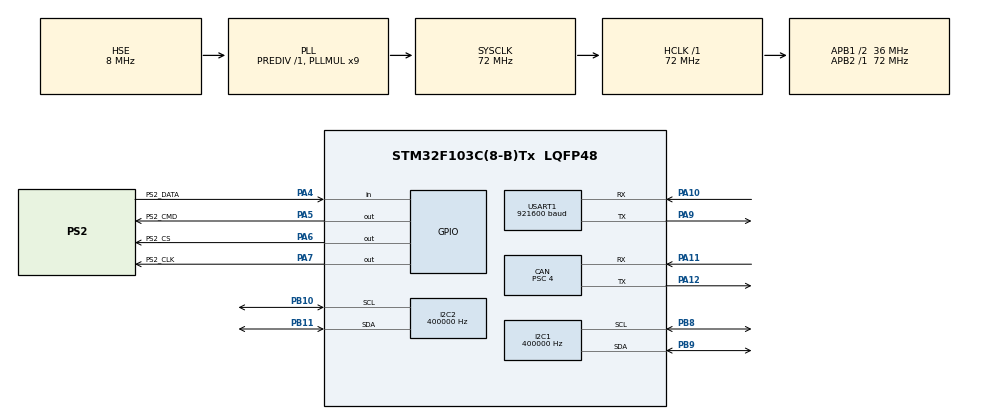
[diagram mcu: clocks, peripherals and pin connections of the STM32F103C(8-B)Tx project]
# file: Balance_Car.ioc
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CAN.AutoBusOff=ENABLE
CAN.AutoRetransmission=ENABLE
CAN.BS1=CAN_BS1_11TQ
CAN.BS2=CAN_BS2_6TQ
CAN.CalculateBaudRate=500000
CAN.CalculateTimeBit=2000
CAN.CalculateTimeQuantum=111.11111111111111
CAN.Prescaler=4
CAN.SJW=CAN_SJW_2TQ
FREERTOS.TOTAL_HEAP_SIZE=6144
FREERTOS.Tasks01=defaultTask,-3,64,StartDefaultTask,Default,NULL,Dynamic,NULL,NULL;mpuTask,2,128,MPU_Task,Default,NULL,Dynamic,NULL,NULL;motorCtrlTask,1,208,MotorCtrl_Task,Default,NULL,Dynamic,NULL,NULL;oledTask,-1,112,OLED_DisplayTask,Default,NULL,Dynamic,NULL,NULL;handTask,1,112,HAND_Task,Default,NULL,Dynamic,NULL,NULL
FREERTOS.configMINIMAL_STACK_SIZE=64
I2C1.ClockSpeed=400000
I2C1.DutyCycle=I2C_DUTYCYCLE_16_9
I2C1.I2C_Mode=I2C_Fast
I2C2.ClockSpeed=400000
I2C2.DutyCycle=I2C_DUTYCYCLE_16_9
I2C2.I2C_Mode=I2C_Fast
Mcu.Family=STM32F1
Mcu.Name=STM32F103C(8-B)Tx
Mcu.Package=LQFP48
NVIC.CAN1_RX1_IRQn=true\:5\:0\:false\:false\:true\:true\:true\:true\:true
NVIC.I2C1_ER_IRQn=true\:5\:0\:false\:false\:true\:true\:true\:true\:true
NVIC.I2C1_EV_IRQn=true\:5\:0\:false\:false\:true\:true\:true\:true\:true
NVIC.I2C2_ER_IRQn=true\:5\:0\:false\:false\:true\:true\:true\:true\:true
NVIC.I2C2_EV_IRQn=true\:5\:0\:false\:false\:true\:true\:true\:true\:true
NVIC.PriorityGroup=NVIC_PRIORITYGROUP_4
NVIC.TIM1_UP_IRQn=true\:15\:0\:false\:false\:true\:false\:false\:true\:true
NVIC.TimeBase=TIM1_UP_IRQn
NVIC.TimeBaseIP=TIM1
NVIC.USART1_IRQn=true\:5\:0\:false\:false\:true\:true\:true\:true\:true
NVIC.USB_HP_CAN1_TX_IRQn=true\:5\:0\:false\:false\:true\:true\:true\:true\:true
PA10.Mode=Asynchronous
PA10.Signal=USART1_RX
PA11.Mode=CAN_Activate
PA11.Signal=CAN_RX
PA12.Mode=CAN_Activate
PA12.Signal=CAN_TX
PA13.Mode=Serial_Wire
PA13.Signal=SYS_JTMS-SWDIO
PA14.Mode=Serial_Wire
PA14.Signal=SYS_JTCK-SWCLK
PA4.GPIO_Label=PS2_DATA
PA4.GPIO_PuPd=GPIO_PULLUP
PA4.Signal=GPIO_Input
PA5.GPIO_Label=PS2_CMD
PA5.GPIO_PinState=GPIO_PIN_SET
PA5.GPIO_Speed=GPIO_SPEED_FREQ_HIGH
PA5.Signal=GPIO_Output
PA6.GPIO_Label=PS2_CS
PA6.GPIO_PinState=GPIO_PIN_SET
PA6.GPIO_Speed=GPIO_SPEED_FREQ_HIGH
PA6.Signal=GPIO_Output
PA7.GPIO_Label=PS2_CLK
PA7.GPIO_PinState=GPIO_PIN_SET
PA7.GPIO_Speed=GPIO_SPEED_FREQ_HIGH
PA7.Signal=GPIO_Output
PA9.Mode=Asynchronous
PA9.Signal=USART1_TX
PB10.Mode=I2C
PB10.Signal=I2C2_SCL
PB11.Mode=I2C
PB11.Signal=I2C2_SDA
PB8.Mode=I2C
PB8.Signal=I2C1_SCL
PB9.Mode=I2C
PB9.Signal=I2C1_SDA
PD0-OSC_IN.Mode=HSE-External-Oscillator
PD0-OSC_IN.Signal=RCC_OSC_IN
PD1-OSC_OUT.Mode=HSE-External-Oscillator
PD1-OSC_OUT.Signal=RCC_OSC_OUT
ProjectManager.HeapSize=0x200
ProjectManager.StackSize=0x400
ProjectManager.TargetToolchain=MDK-ARM V5.32
RCC.AHBFreq_Value=72000000
RCC.APB1CLKDivider=RCC_HCLK_DIV2
RCC.APB1Freq_Value=36000000
RCC.APB1TimFreq_Value=72000000
RCC.APB2Freq_Value=72000000
RCC.APB2TimFreq_Value=72000000
RCC.HCLKFreq_Value=72000000
RCC.PLLMUL=RCC_PLL_MUL9
RCC.PLLSourceVirtual=RCC_PLLSOURCE_HSE
RCC.SYSCLKFreq_VALUE=72000000
RCC.SYSCLKSource=RCC_SYSCLKSOURCE_PLLCLK
RCC.USBFreq_Value=72000000
TIM4.Period=65535
TIM4.Prescaler=71
USART1.BaudRate=921600
USART1.VirtualMode=VM_ASYNC
VP_FREERTOS_VS_CMSIS_V1.Mode=CMSIS_V1
VP_SYS_VS_tim1.Mode=TIM1
VP_TIM4_VS_ClockSourceINT.Mode=Internal
board=custom

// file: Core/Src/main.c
/* USER CODE BEGIN Header */
/**
  ******************************************************************************
  * @file           : main.c
  * @brief          : Main program body
  ******************************************************************************
  * @attention
  *
  * Copyright (c) 2026 STMicroelectronics.
  * All rights reserved.
  *
  * This software is licensed under terms that can be found in the LICENSE file
  * in the root directory of this software component.
  * If no LICENSE file comes with this software, it is provided AS-IS.
  *
  ******************************************************************************
  */
/* USER CODE END Header */
#include "main.h"
#include "cmsis_os.h"
#include "can.h"
#include "i2c.h"
#include "tim.h"
#include "usart.h"
#include "gpio.h"

/* USER CODE BEGIN Includes */
#include "balance.h"
#include "tim.h"
/* USER CODE END Includes */

void SystemClock_Config(void);
void MX_FREERTOS_Init(void);

int main(void)
{

  /* MCU Configuration--------------------------------------------------------*/

  /* Reset of all peripherals, Initializes the Flash interface and the Systick. */
  HAL_Init();

  /* Configure the system clock */
  SystemClock_Config();

  /* USER CODE BEGIN SysInit */
  HAL_Delay(1000U);
  /* USER CODE END SysInit */

  /* Initialize all configured peripherals */
  MX_GPIO_Init();
  MX_I2C1_Init();
  MX_I2C2_Init();
  MX_CAN_Init();
  MX_USART1_UART_Init();
  MX_TIM4_Init();
  /* USER CODE BEGIN 2 */
  Car_Init();
  /* USER CODE END 2 */

  /* Call init function for freertos objects (in cmsis_os2.c) */
  MX_FREERTOS_Init();

  /* Start scheduler */
  osKernelStart();

  /* We should never get here as control is now taken by the scheduler */

  /* Infinite loop */
  while (1)
  {

  }
}

void SystemClock_Config(void)
{
  RCC_OscInitTypeDef RCC_OscInitStruct = {0};
  RCC_ClkInitTypeDef RCC_ClkInitStruct = {0};

  /** Initializes the RCC Oscillators according to the specified parameters
  * in the RCC_OscInitTypeDef structure.
  */
  RCC_OscInitStruct.OscillatorType = RCC_OSCILLATORTYPE_HSE;
  RCC_OscInitStruct.HSEState = RCC_HSE_ON;
  RCC_OscInitStruct.HSEPredivValue = RCC_HSE_PREDIV_DIV1;
  RCC_OscInitStruct.HSIState = RCC_HSI_ON;
  RCC_OscInitStruct.PLL.PLLState = RCC_PLL_ON;
  RCC_OscInitStruct.PLL.PLLSource = RCC_PLLSOURCE_HSE;
  RCC_OscInitStruct.PLL.PLLMUL = RCC_PLL_MUL9;
  if (HAL_RCC_OscConfig(&RCC_OscInitStruct) != HAL_OK)
  {
    Error_Handler();
  }

  /** Initializes the CPU, AHB and APB buses clocks
  */
  RCC_ClkInitStruct.ClockType = RCC_CLOCKTYPE_HCLK|RCC_CLOCKTYPE_SYSCLK
                              |RCC_CLOCKTYPE_PCLK1|RCC_CLOCKTYPE_PCLK2;
  RCC_ClkInitStruct.SYSCLKSource = RCC_SYSCLKSOURCE_PLLCLK;
  RCC_ClkInitStruct.AHBCLKDivider = RCC_SYSCLK_DIV1;
  RCC_ClkInitStruct.APB1CLKDivider = RCC_HCLK_DIV2;
  RCC_ClkInitStruct.APB2CLKDivider = RCC_HCLK_DIV1;

  if (HAL_RCC_ClockConfig(&RCC_ClkInitStruct, FLASH_LATENCY_2) != HAL_OK)
  {
    Error_Handler();
  }
}

void HAL_TIM_PeriodElapsedCallback(TIM_HandleTypeDef *htim)
{
  if (htim->Instance == TIM1)
  {
    HAL_IncTick();
  }
}

void Error_Handler(void)
{
  __disable_irq();
  while (1)
  {
  }
}

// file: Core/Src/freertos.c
/* USER CODE BEGIN Header */
/**
  ******************************************************************************
  * File Name          : freertos.c
  * Description        : Code for freertos applications
  ******************************************************************************
  * @attention
  *
  * Copyright (c) 2026 STMicroelectronics.
  * All rights reserved.
  *
  * This software is licensed under terms that can be found in the LICENSE file
  * in the root directory of this software component.
  * If no LICENSE file comes with this software, it is provided AS-IS.
  *
  ******************************************************************************
  */
/* USER CODE END Header */

#include "FreeRTOS.h"
#include "task.h"
#include "main.h"
#include "cmsis_os.h"

/* USER CODE BEGIN Includes */
#include "balance.h"
/* USER CODE END Includes */

osThreadId defaultTaskHandle;
osThreadId mpuTaskHandle;
osThreadId motorCtrlTaskHandle;
osThreadId oledTaskHandle;
osThreadId handTaskHandle;

void StartDefaultTask(void const * argument);
void MPU_Task(void const * argument);
void MotorCtrl_Task(void const * argument);
void OLED_DisplayTask(void const * argument);
void HAND_Task(void const * argument);

void MX_FREERTOS_Init(void); /* (MISRA C 2004 rule 8.1) */

/* GetIdleTaskMemory prototype (linked to static allocation support) */
void vApplicationGetIdleTaskMemory( StaticTask_t **ppxIdleTaskTCBBuffer, StackType_t **ppxIdleTaskStackBuffer, uint32_t *pulIdleTaskStackSize );

/* USER CODE BEGIN GET_IDLE_TASK_MEMORY */
static StaticTask_t xIdleTaskTCBBuffer;
static StackType_t xIdleStack[configMINIMAL_STACK_SIZE];

void vApplicationGetIdleTaskMemory( StaticTask_t **ppxIdleTaskTCBBuffer, StackType_t **ppxIdleTaskStackBuffer, uint32_t *pulIdleTaskStackSize )
{
  *ppxIdleTaskTCBBuffer = &xIdleTaskTCBBuffer;
  *ppxIdleTaskStackBuffer = &xIdleStack[0];
  *pulIdleTaskStackSize = configMINIMAL_STACK_SIZE;
  /* place for user code */
}
/* USER CODE END GET_IDLE_TASK_MEMORY */

void MX_FREERTOS_Init(void) {

  /* Create the thread(s) */
  /* definition and creation of defaultTask */
  osThreadDef(defaultTask, StartDefaultTask, osPriorityIdle, 0, 64);
  defaultTaskHandle = osThreadCreate(osThread(defaultTask), NULL);

  /* definition and creation of mpuTask */
  osThreadDef(mpuTask, MPU_Task, osPriorityHigh, 0, 128);
  mpuTaskHandle = osThreadCreate(osThread(mpuTask), NULL);

  /* definition and creation of motorCtrlTask */
  osThreadDef(motorCtrlTask, MotorCtrl_Task, osPriorityAboveNormal, 0, 208);
  motorCtrlTaskHandle = osThreadCreate(osThread(motorCtrlTask), NULL);

  /* definition and creation of oledTask */
  osThreadDef(oledTask, OLED_DisplayTask, osPriorityBelowNormal, 0, 112);
  oledTaskHandle = osThreadCreate(osThread(oledTask), NULL);

  /* definition and creation of handTask */
  osThreadDef(handTask, HAND_Task, osPriorityAboveNormal, 0, 112);
  handTaskHandle = osThreadCreate(osThread(handTask), NULL);

  /* USER CODE BEGIN RTOS_THREADS */
  if (defaultTaskHandle == NULL || mpuTaskHandle == NULL ||
      motorCtrlTaskHandle == NULL || oledTaskHandle == NULL || handTaskHandle == NULL)
  {
    Error_Handler();
  }
  /* USER CODE END RTOS_THREADS */

}

void StartDefaultTask(void const * argument)
{
  for(;;)
  {
    osDelay(1);
  }
}

void MPU_Task(void const * argument)
{
  /* USER CODE BEGIN MPU_Task */
  (void)argument;
  for(;;)
  {
    Car_ReadMPU();
    osDelay(5);
  }
  /* USER CODE END MPU_Task */
}

void MotorCtrl_Task(void const * argument)
{
  /* USER CODE BEGIN MotorCtrl_Task */
  TickType_t lastWake = xTaskGetTickCount();
  const TickType_t period = pdMS_TO_TICKS(LQR_PERIOD_MS);
  (void)argument;
  for(;;)
  {
    Car_Control();
    if (xTaskGetTickCount() - lastWake >= period)
    {
      lastWake = xTaskGetTickCount();
    }
    vTaskDelayUntil(&lastWake, period);
  }
  /* USER CODE END MotorCtrl_Task */
}

void OLED_DisplayTask(void const * argument)
{
  /* USER CODE BEGIN OLED_DisplayTask */
  (void)argument;
  for(;;)
  {
    Car_Display();
    osDelay(100);
  }
  /* USER CODE END OLED_DisplayTask */
}

void HAND_Task(void const * argument)
{
  /* USER CODE BEGIN HAND_Task */
  PS2_StateTypeDef state;
  (void)argument;
  for(;;)
  {
    vTaskSuspendAll();
    PS2_Poll(&state);
    xTaskResumeAll();
    Car_SetJoystick(&state);
    osDelay(30);
  }
  /* USER CODE END HAND_Task */
}
